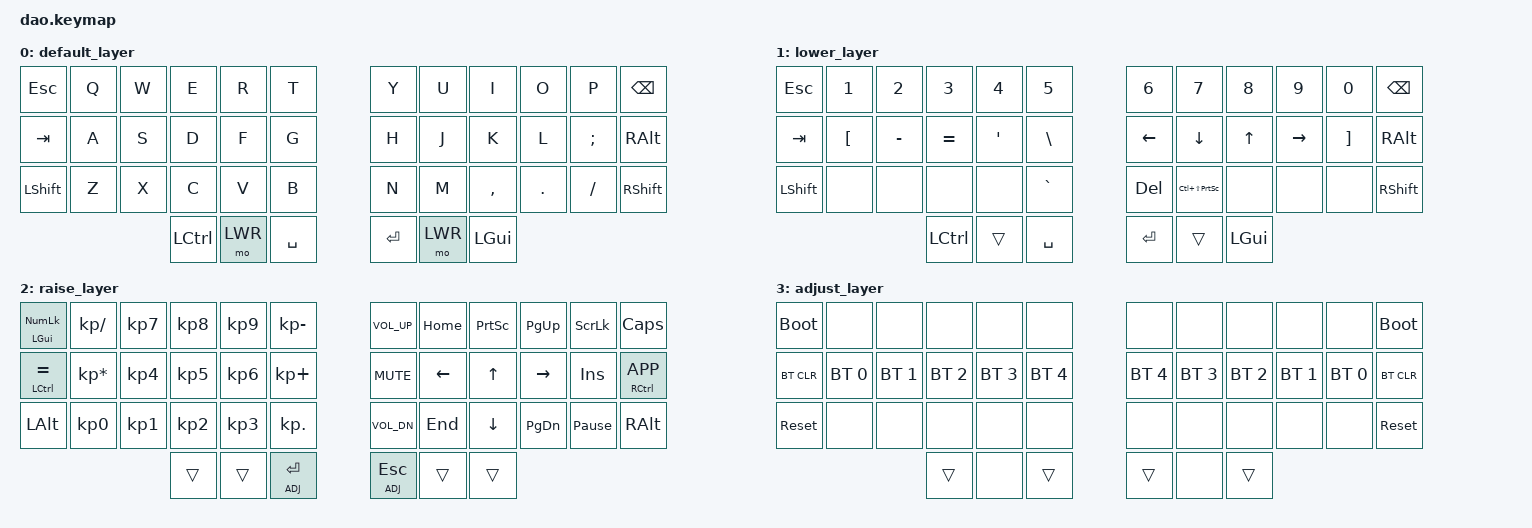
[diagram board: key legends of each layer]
/*
 * Copyright (c) 2021 Rafael Yumagulov
 *
 * SPDX-License-Identifier: MIT
 */

#include <behaviors.dtsi>
#include <dt-bindings/zmk/keys.h>
#include <dt-bindings/zmk/bt.h>

#define DEF 0
#define LWR 1
#define RSE 2
#define ADJ 3

&lt { quick_tap_ms = <200>; };
&mt { quick_tap_ms = <200>; };

/ {
    chosen {
        zmk,matrix_transform = &default_transform;
        // zmk,matrix_transform = &extra_keys_transform;
    };
};

/ {
        keymap {
                compatible = "zmk,keymap";

                default_layer {
                        bindings = <
          &kp ESC           &kp Q   &kp W   &kp E         &kp R             &kp T         &kp Y         &kp U            &kp I         &kp O     &kp P      &kp BSPC
          &kp TAB           &kp A   &kp S   &kp D         &kp F             &kp G         &kp H         &kp J            &kp K         &kp L     &kp SEMI   &kp RALT
          &kp LSHFT         &kp Z   &kp X   &kp C         &kp V             &kp B         &kp N         &kp M            &kp COMMA     &kp DOT   &kp FSLH   &kp RSHFT
                                            &kp LCTRL     &mo LWR           &kp SPACE     &kp RET       &mo LWR          &kp LGUI 
                        >;
                };
                lower_layer {
                        bindings = <
          &kp ESC        &kp N1   &kp N2    &kp N3        &kp N4       &kp N5        &kp N6        &kp N7            &kp N8        &kp N9    &kp N0     &kp BSPC
          &kp TAB        &kp LBKT &kp MINUS &kp EQUAL     &kp SQT      &kp BSLH      &kp LEFT      &kp DOWN          &kp UP        &kp RIGHT &kp RBKT   &kp RALT
          &kp LSHFT      &none    &none     &none         &none        &kp GRAVE     &kp DEL       &kp LC(LS(PSCRN)) &none         &none     &none      &kp RSHFT
                                            &kp LCTRL     &trans       &kp SPACE     &kp RET       &trans            &kp LGUI 
                        >;
                };

                raise_layer {
                        bindings = <
          &mt LGUI KP_NUM   &kp KP_SLASH      &kp KP_N7   &kp KP_N8   &kp KP_N9   &kp KP_MINUS   &kp C_VOL_UP   &kp HOME   &kp PSCRN   &kp PG_UP   &kp SLCK          &kp CLCK   
          &mt LCTRL EQUAL   &kp KP_MULTIPLY   &kp KP_N4   &kp KP_N5   &kp KP_N6   &kp KP_PLUS    &kp C_MUTE     &kp LEFT   &kp UP      &kp RIGHT   &kp INS           &mt RCTRL  K_APP
          &kp LALT          &kp KP_N0         &kp KP_N1   &kp KP_N2   &kp KP_N3   &kp KP_DOT     &kp C_VOL_DN   &kp END    &kp DOWN    &kp PG_DN   &kp PAUSE_BREAK   &kp RALT
                                                          &trans      &trans      &lt ADJ RET    &lt ADJ ESC    &trans     &trans
                        >;
                };
                adjust_layer {
                        bindings = <
 &bootloader   &none          &none          &none          &none          &none          &none          &none          &none          &none          &none          &bootloader
 &bt BT_CLR    &bt BT_SEL 0   &bt BT_SEL 1   &bt BT_SEL 2   &bt BT_SEL 3   &bt BT_SEL 4   &bt BT_SEL 4   &bt BT_SEL 3   &bt BT_SEL 2   &bt BT_SEL 1   &bt BT_SEL 0   &bt BT_CLR
 &sys_reset        &none          &none          &none          &none          &none          &none          &none          &none          &none          &none          &sys_reset
                                             &trans         &none          &trans         &trans         &none          &trans
                        >;
                };
        };
};
